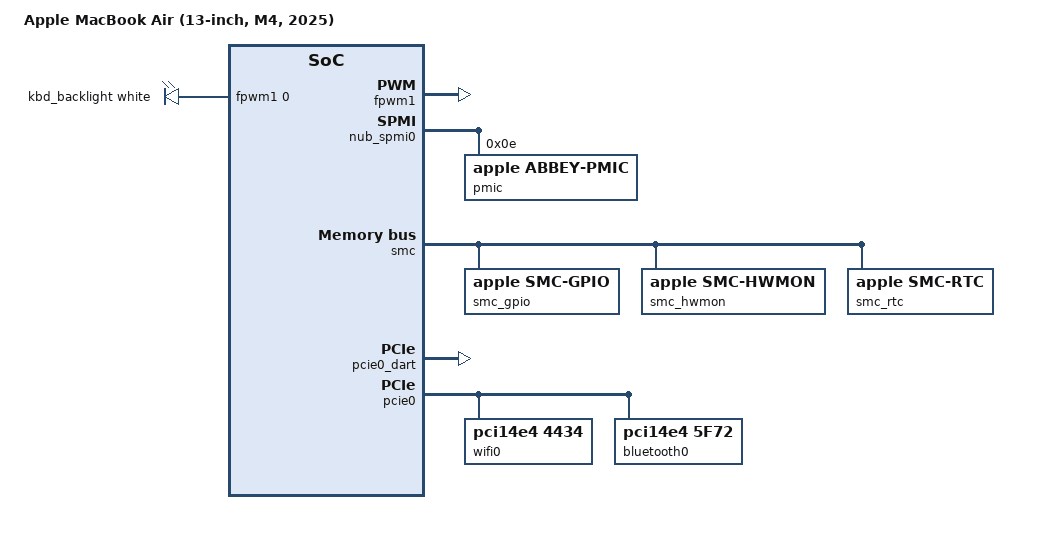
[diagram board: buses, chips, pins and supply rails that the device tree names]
// SPDX-License-Identifier: GPL-2.0+ OR MIT
/*
 * Apple MacBook Air (13-inch, M4, 2025)
 *
 * target-type: J713
 *
 * Copyright The Asahi Linux Contributors
 */

/dts-v1/;

#include "t8132.dtsi"
#include "t8132-jxxx.dtsi"
#include <dt-bindings/leds/common.h>
#include <dt-bindings/gpio/gpio.h>

/ {
	compatible = "apple,j713", "apple,t8132", "apple,arm-platform";
	model = "Apple MacBook Air (13-inch, M4, 2025)";

	led-controller {
		compatible = "pwm-leds";
		led-0 {
			pwms = <&fpwm1 0 40000>;
			label = "kbd_backlight";
			function = LED_FUNCTION_KBD_BACKLIGHT;
			color = <LED_COLOR_ID_WHITE>;
			max-brightness = <255>;
			default-state = "keep";
		};
	};
};

&fpwm1 {
	status = "okay";
};

/*
 * J713 (M4 MacBook Air) bring-up additions.
 *
 * Internal storage: the post-M4 ANS (Aurora's apple,t8132-nvme-ans2 driver
 * adopts the live session m1n1 hands over). Addresses and interrupts from the
 * live ADT as used by Omarchy-M4-Native's J713 device tree; power domains as
 * Aurora's T8140 node (apcie_phy keeps the ANS PCIe link out of L1 idle).
 */
&soc {
	ans_mbox: mbox@481608000 {
		compatible = "apple,t8132-asc-mailbox", "apple,asc-mailbox-v4";
		reg = <0x4 0x81608000 0x0 0x4000>;
		interrupt-parent = <&aic>;
		interrupts = <AIC_IRQ 1003 IRQ_TYPE_LEVEL_HIGH>,
			     <AIC_IRQ 1004 IRQ_TYPE_LEVEL_HIGH>,
			     <AIC_IRQ 1005 IRQ_TYPE_LEVEL_HIGH>,
			     <AIC_IRQ 1006 IRQ_TYPE_LEVEL_HIGH>;
		interrupt-names = "send-empty", "send-not-empty",
				  "recv-empty", "recv-not-empty";
		#mbox-cells = <0>;
		power-domains = <&ps_ans>;
	};

	sart: sart@485c50000 {
		compatible = "apple,t8132-sart", "apple,t6000-sart";
		reg = <0x4 0x85c50000 0x0 0xc000>;
		power-domains = <&ps_ans>;
	};

	nvme: nvme@4c5cc0000 {
		compatible = "apple,t8132-nvme-ans2";
		/*
		 * The ADT sizes the controller window at 0x10000, but the linear
		 * submission queue registers at +0x24908..+0x24910 sit in the same
		 * non-secure alias (as on T8140).
		 */
		reg = <0x4 0xc5cc0000 0x0 0x30000>,
		      <0x4 0x81600000 0x0 0x4000>,
		      <0x4 0x85cc0000 0x0 0x60000>;
		reg-names = "nvme", "ans", "nvmmu";
		interrupt-parent = <&aic>;
		interrupts = <AIC_IRQ 1018 IRQ_TYPE_LEVEL_HIGH>;
		mboxes = <&ans_mbox>;
		apple,sart = <&sart>;
		power-domains = <&ps_ans>, <&ps_apcie_sys_st>, <&ps_apcie_phy_sw>;
		power-domain-names = "ans", "apcie0", "apcie_phy";
		resets = <&ps_ans>;
	};
};

/*
 * atc2/atc3 power domains cannot power on on J713 and wedge the boot once
 * their subtree registers (Omarchy-M4-Native hardware night 1, patch 0011).
 * Consumers first so no remaining node references a deleted one.
 */
/delete-node/ &ps_atc2_usb;
/delete-node/ &ps_atc3_usb;
/delete-node/ &ps_atc2_cio_usb;
/delete-node/ &ps_atc2_cio_pcie;
/delete-node/ &ps_atc2_cio;
/delete-node/ &ps_atc2_pcie;
/delete-node/ &ps_atc2_usb_aon;
/delete-node/ &ps_atc2_common;
/delete-node/ &ps_atc3_cio_usb;
/delete-node/ &ps_atc3_cio_pcie;
/delete-node/ &ps_atc3_cio;
/delete-node/ &ps_atc3_pcie;
/delete-node/ &ps_atc3_usb_aon;
/delete-node/ &ps_atc3_common;

/*
 * J713 system management and internal input (keyboard/trackpad).
 * Addresses, interrupts, PMIC NVMEM cells and SMC GPIO pins from the live
 * ADT as used by Omarchy-M4-Native's J713 device tree; node layout and
 * properties follow Aurora's T8140/J700 bindings.
 */
&soc {
	nub_spmi0: spmi@388714000 {
		compatible = "apple,t8132-spmi", "apple,t8103-spmi";
		reg = <0x3 0x88714000 0x0 0x100>;
		#address-cells = <2>;
		#size-cells = <0>;

		pmic@e {
			compatible = "apple,abbey-pmic", "apple,spmi-nvmem";
			reg = <0xe 0>;

			nvmem-layout {
				compatible = "fixed-layout";
				#address-cells = <1>;
				#size-cells = <1>;

				boot_stage: boot-stage@f801 {
					reg = <0xf801 0x1>;
				};

				boot_error_count: boot-error-count@f802,0 {
					reg = <0xf802 0x1>;
					bits = <0 4>;
				};

				panic_count: panic-count@f802,4 {
					reg = <0xf802 0x1>;
					bits = <4 4>;
				};

				shutdown_flag: shutdown-flag@f80f,3 {
					reg = <0xf80f 0x1>;
					bits = <3 1>;
				};

				rtc_offset: rtc-offset@2100 {
					reg = <0x2100 0x6>;
				};
			};
		};
	};

	smc: smc@38c600000 {
		compatible = "apple,t8132-smc", "apple,t8103-smc";
		reg = <0x3 0x8c600000 0x0 0x4000>,
		      <0x3 0x8de00000 0x0 0x100000>;
		reg-names = "smc", "sram";
		mboxes = <&smc_mbox>;

		smc_gpio: gpio {
			compatible = "apple,smc-gpio";
			gpio-controller;
			#gpio-cells = <2>;
		};

		smc_hwmon: hwmon {
			compatible = "apple,smc-hwmon";

			power-PHPC {
				apple,key-id = "PHPC";
				label = "Heatpipe Power";
			};

			temperature-TB0T {
				apple,key-id = "TB0T";
				label = "Battery Hotspot";
			};

			temperature-TCHP {
				apple,key-id = "TCHP";
				label = "Charge Regulator Temp";
			};

			temperature-TW0P {
				apple,key-id = "TW0P";
				label = "WiFi/BT Module Temp";
			};

			voltage-SBAV {
				apple,key-id = "SBAV";
				label = "Battery Voltage";
			};

			voltage-VD0R {
				apple,key-id = "VD0R";
				label = "Charger Input Voltage";
			};
		};

		smc_reboot: reboot {
			compatible = "apple,smc-reboot";
			nvmem-cells = <&shutdown_flag>, <&boot_stage>,
				      <&boot_error_count>, <&panic_count>;
			nvmem-cell-names = "shutdown_flag", "boot_stage",
					   "boot_error_count", "panic_count";
		};

		smc_rtc: rtc {
			compatible = "apple,smc-rtc";
			nvmem-cells = <&rtc_offset>;
			nvmem-cell-names = "rtc_offset";
		};
	};

	smc_mbox: mailbox@38c608000 {
		compatible = "apple,t8132-asc-mailbox", "apple,asc-mailbox-v4";
		reg = <0x3 0x8c608000 0x0 0x4000>;
		interrupt-parent = <&aic>;
		interrupts = <AIC_IRQ 562 IRQ_TYPE_LEVEL_HIGH>,
			     <AIC_IRQ 561 IRQ_TYPE_LEVEL_HIGH>,
			     <AIC_IRQ 563 IRQ_TYPE_LEVEL_HIGH>,
			     <AIC_IRQ 564 IRQ_TYPE_LEVEL_HIGH>;
		interrupt-names = "send-empty", "send-not-empty",
				  "recv-empty", "recv-not-empty";
		#mbox-cells = <0>;
	};

	mtp: mtp@394600000 {
		compatible = "apple,t8132-mtp", "apple,t8132-rtk-helper-asc4",
			     "apple,mtp", "apple,rtk-helper-asc4";
		reg = <0x3 0x94600000 0x0 0x4000>,
		      <0x3 0x94050000 0x0 0x4000>;
		reg-names = "asc", "sram";
		mboxes = <&mtp_mbox>;
		iommus = <&mtp_dart 0>;
		#helper-cells = <0>;
	};

	mtp_mbox: mailbox@394608000 {
		compatible = "apple,t8132-asc-mailbox", "apple,asc-mailbox-v4";
		reg = <0x3 0x94608000 0x0 0x4000>;
		interrupt-parent = <&aic>;
		interrupts = <AIC_IRQ 1114 IRQ_TYPE_LEVEL_HIGH>,
			     <AIC_IRQ 1113 IRQ_TYPE_LEVEL_HIGH>,
			     <AIC_IRQ 1115 IRQ_TYPE_LEVEL_HIGH>,
			     <AIC_IRQ 1116 IRQ_TYPE_LEVEL_HIGH>;
		interrupt-names = "send-empty", "send-not-empty",
				  "recv-empty", "recv-not-empty";
		#mbox-cells = <0>;
	};

	mtp_dart: iommu@394800000 {
		compatible = "apple,t8132-dart", "apple,t8110-dart";
		/* The ADT (dart-mtp reg[0]) sizes this window at 0xc000, as on T8140. */
		reg = <0x3 0x94800000 0x0 0xc000>;
		interrupt-parent = <&aic>;
		interrupts = <AIC_IRQ 1091 IRQ_TYPE_LEVEL_HIGH>;
		#iommu-cells = <1>;
	};

	mtp_dockchannel: fifo@394b14000 {
		compatible = "apple,t8132-dockchannel", "apple,dockchannel";
		reg = <0x3 0x94b14000 0x0 0x1000>;
		reg-names = "irq";
		interrupt-parent = <&aic>;
		interrupts = <AIC_IRQ 1093 IRQ_TYPE_LEVEL_HIGH>;

		ranges = <0x0000 0x3 0x94b28000 0x1000>,
			 <0x4000 0x3 0x94b2c000 0x1000>,
			 <0x8000 0x3 0x94b30000 0x1000>,
			 <0xc000 0x3 0x94b34000 0x1000>;
		nonposted-mmio;
		#address-cells = <1>;
		#size-cells = <1>;

		interrupt-controller;
		#interrupt-cells = <2>;

		mtp_hid: input@8000 {
			compatible = "apple,dockchannel-hid";
			reg = <0x8000 0x1000>,
			      <0xc000 0x1000>,
			      <0x0000 0x1000>,
			      <0x4000 0x1000>;
			reg-names = "config", "data",
				    "rmt-config", "rmt-data";
			iommus = <&mtp_dart 0>;
			interrupt-parent = <&mtp_dockchannel>;
			interrupts = <2 IRQ_TYPE_LEVEL_HIGH>,
				     <3 IRQ_TYPE_LEVEL_HIGH>;
			interrupt-names = "tx", "rx";
			apple,fifo-size = <0x800>;
			apple,helper-cpu = <&mtp>;
			/*
			 * SMC gP1c: the J713 AFE reset is a board-function action
			 * (gpio-macsmc J713 case); level 1 asserts the reset.
			 */
			apple,afe-reset-gpios = <&smc_gpio 0x1c 0>;

			multi-touch {
				firmware-name = "apple/tpmtfw-j713.bin";
				/* Version-2 interface power requests, as J713 needs. */
				apple,power-method = <2>;
			};

			keyboard {
				hid-country-code = <0>;
				apple,keyboard-layout-id = <0>;
			};

			stm {
			};
		};
	};
};

/*
 * J713 GPU (T8132 G16), from Omarchy-M4-Native's portable device tree.
 * m1n1 fills the reserved memory and GPU properties and enables the GPU
 * when its handoff succeeds (kboot_gpu.c, dt_set_gpu_t8132).
 */
/ {
	aliases {
		gpu = &gpu;
	};

	reserved-memory {
		uat_ttbs: uat-ttbs {
			reg = <0 0 0 0>;
			status = "disabled";
		};

		uat_pagetables: uat-pagetables {
			reg = <0 0 0 0>;
			status = "disabled";
		};

		uat_l2: uat-l2 {
			reg = <0 0 0 0>;
			status = "disabled";
		};

		uat_handoff: uat-handoff {
			reg = <0 0 0 0>;
			status = "disabled";
		};

		gpu_fw: gpu-firmware {
			reg = <0 0 0 0>;
			status = "disabled";
		};
	};
};

&soc {
	gpu_mbox: mailbox@302608000 {
		compatible = "apple,t8132-asc-mailbox", "apple,asc-mailbox-v4";
		reg = <0x3 0x02608000 0x0 0x4000>;
		interrupt-parent = <&aic>;
		interrupts = <AIC_IRQ 993 IRQ_TYPE_LEVEL_HIGH>,
			     <AIC_IRQ 994 IRQ_TYPE_LEVEL_HIGH>,
			     <AIC_IRQ 995 IRQ_TYPE_LEVEL_HIGH>,
			     <AIC_IRQ 996 IRQ_TYPE_LEVEL_HIGH>;
		interrupt-names = "send-empty", "send-not-empty",
				  "recv-empty", "recv-not-empty";
		#mbox-cells = <0>;
		power-domains = <&ps_gfx>;
	};

	gpu: gpu@302600000 {
		compatible = "apple,agx-t8132";
		reg = <0x3 0x02600000 0x0 0x88000>,
		      <0x3 0x00000000 0x0 0x4000000>;
		reg-names = "asc", "sgx";
		mboxes = <&gpu_mbox>;
		power-domains = <&ps_gfx>;
		memory-region = <&uat_ttbs>, <&uat_pagetables>, <&uat_l2>,
				<&uat_handoff>, <&gpu_fw>;
		memory-region-names = "ttbs", "pagetables", "l2", "handoff",
				      "firmware";
		/* Enabled by m1n1 once the firmware memory handoff is ready. */
		status = "disabled";
	};
};

/*
 * J713 internal PCIe: port 0 carries the BCM4388 C2 ("garden") Wi-Fi and
 * Bluetooth functions. From Omarchy-M4-Native's portable device tree; m1n1
 * fills the MAC addresses, antenna SKU and calibration through the aliases.
 */
/ {
	aliases {
		bluetooth0 = &bluetooth0;
		wifi0 = &wifi0;
	};
};

&pinctrl_ap {
	pcie_pins: pcie-pins {
		pinmux = <0x200a0>;
	};
};

&soc {
	pcie0_dart: iommu@490000000 {
		compatible = "apple,t8132-dart", "apple,t8110-dart";
		/* The ADT (dart-apcie0 reg[0]) sizes this window at 0x20000. */
		reg = <0x4 0x90000000 0x0 0x20000>;
		#iommu-cells = <1>;
		interrupt-parent = <&aic>;
		interrupts = <AIC_IRQ 1232 IRQ_TYPE_LEVEL_HIGH>;
		power-domains = <&ps_apcie_phy_sw>;
	};

	pcie0: pcie@1cb0000000 {
		compatible = "apple,t8132-pcie", "apple,t6020-pcie";
		device_type = "pci";
		reg = <0x1c 0xb0000000 0x0 0x10000000>,
		      <0x4 0x94000000 0x0 0x4000>,
		      <0x4 0x90028000 0x0 0x8000>,
		      <0x4 0x91028000 0x0 0x8000>,
		      <0x4 0x92028000 0x0 0x8000>,
		      <0x4 0x97020000 0x0 0x4000>,
		      <0x4 0x97024000 0x0 0x4000>,
		      <0x4 0x97028000 0x0 0x4000>;
		reg-names = "config", "rc", "port0", "port1", "port2",
			    "phy0", "phy1", "phy2";
		interrupt-parent = <&aic>;
		interrupts = <AIC_IRQ 1231 IRQ_TYPE_LEVEL_HIGH>,
			     <AIC_IRQ 1240 IRQ_TYPE_LEVEL_HIGH>,
			     <AIC_IRQ 1249 IRQ_TYPE_LEVEL_HIGH>;
		msi-controller;
		msi-parent = <&pcie0>;
		msi-ranges = <&aic AIC_IRQ 1506 IRQ_TYPE_EDGE_RISING 96>;
		iommu-map = <0x100 &pcie0_dart 1 1>,
			    <0x101 &pcie0_dart 2 1>;
		iommu-map-mask = <0xffff>;
		bus-range = <0 8>;
		#address-cells = <3>;
		#size-cells = <2>;
		ranges = <0x43000000 0xb 0xc0000000 0xb 0xc0000000 0x0 0x20000000>,
			 <0x02000000 0x0 0x80000000 0xb 0x80000000 0x0 0x40000000>;
		power-domains = <&ps_apcie_phy_sw>;
		pinctrl-0 = <&pcie_pins>;
		pinctrl-names = "default";

		pcie0_port0: pci@0,0 {
			device_type = "pci";
			reg = <0x0 0x0 0x0 0x0 0x0>;
			bus-range = <1 1>;
			pwren-gpios = <&smc_gpio 19 GPIO_ACTIVE_HIGH>;
			reset-gpios = <&pinctrl_ap 163 GPIO_ACTIVE_LOW>;
			#address-cells = <3>;
			#size-cells = <2>;
			ranges;
			interrupt-controller;
			#interrupt-cells = <1>;
			interrupt-map-mask = <0 0 0 7>;
			interrupt-map = <0 0 0 1 &pcie0_port0 0 0 0 0>,
					<0 0 0 2 &pcie0_port0 0 0 0 1>,
					<0 0 0 3 &pcie0_port0 0 0 0 2>,
					<0 0 0 4 &pcie0_port0 0 0 0 3>;

			wifi0: wifi@0,0 {
				compatible = "pci14e4,4434";
				reg = <0x10000 0x0 0x0 0x0 0x0>;
				/* To be filled by the loader */
				local-mac-address = [00 00 00 00 00 00];
				apple,antenna-sku = "XX";
				brcm,board-type = "apple,garden";
			};

			bluetooth0: bluetooth@0,1 {
				compatible = "pci14e4,5f72";
				reg = <0x10100 0x0 0x0 0x0 0x0>;
				/* To be filled by the loader */
				local-bd-address = [00 00 00 00 00 00];
				brcm,board-type = "apple,garden";
			};
		};
	};
};

/*
 * Relative CPU capacity. Without it every core reports 1024 and the scheduler
 * puts latency-sensitive work (Hyprland frame composition) on E cores.
 * Omarchy-M4-Native measured an E core at 0.324 of a P core at the iBoot
 * handoff clocks (E 900 MHz, P 1800 MHz). This kernel has no cpufreq or CPU
 * clocks for T8132, so arch_topology does not scale by frequency and these
 * values are the effective capacities. Once cpufreq binds, E should become
 * 663 (0.324 * 1024 * 1800 / 900) so the frequency scaling is not doubled.
 */
&cpu_e0 { capacity-dmips-mhz = <331>; };
&cpu_e1 { capacity-dmips-mhz = <331>; };
&cpu_e2 { capacity-dmips-mhz = <331>; };
&cpu_e3 { capacity-dmips-mhz = <331>; };
&cpu_e4 { capacity-dmips-mhz = <331>; };
&cpu_e5 { capacity-dmips-mhz = <331>; };
&cpu_p0 { capacity-dmips-mhz = <1024>; };
&cpu_p1 { capacity-dmips-mhz = <1024>; };
&cpu_p2 { capacity-dmips-mhz = <1024>; };
&cpu_p3 { capacity-dmips-mhz = <1024>; };
